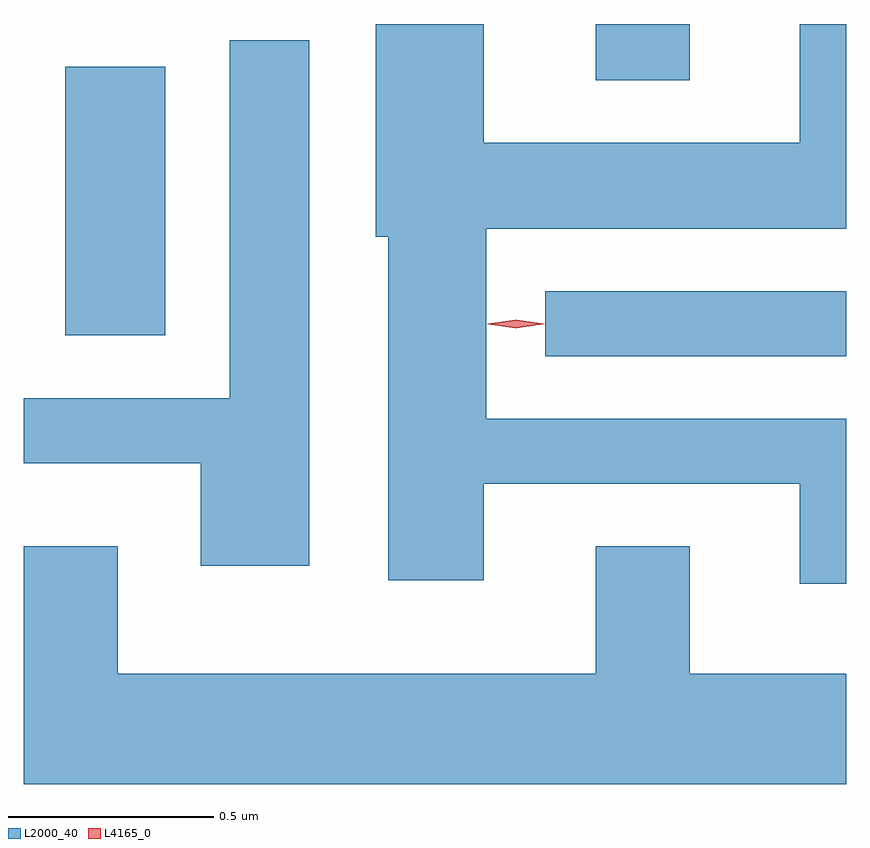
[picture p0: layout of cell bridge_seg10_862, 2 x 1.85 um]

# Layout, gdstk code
import gdstk
lib = gdstk.Library(unit=1e-6, precision=1e-09)
def R(c, l, rs):  # rectangles x0, y0, x1, y1
    for r in rs: c.add(gdstk.rectangle(r[:2], r[2:], *l))
def P(c, l, *ps):  # polygons
    for p in ps: c.add(gdstk.Polygon(p, *l))
L2000_40 = (2000, 40)
L4165_0 = (4165, 0)

bridge_seg10_862 = lib.new_cell('bridge_seg10_862')
R(bridge_seg10_862, L2000_40, [(204.208,2205.976,204.94,2206.134), (203.041,2206.026,203.284,2206.679), (204.331,2206.646,204.559,2206.783)])
P(bridge_seg10_862, L2000_40, [(204.94,2205.824),(204.064,2205.824),(204.064,2206.286),(204.94,2206.286),(204.94,2206.783),(204.826,2206.783),(204.826,2206.494),(204.059,2206.494),(204.059,2206.783),(203.796,2206.783),(203.796,2206.266),(203.826,2206.266),(203.826,2205.431),(204.059,2205.431),(204.059,2205.666),(204.826,2205.666),(204.826,2205.423),(204.94,2205.423)],
  [(203.634,2206.744),(203.441,2206.744),(203.441,2205.874),(202.94,2205.874),(202.94,2205.716),(203.371,2205.716),(203.371,2205.466),(203.634,2205.466)],
  [(204.94,2205.204),(204.559,2205.204),(204.559,2205.514),(204.331,2205.514),(204.331,2205.204),(203.169,2205.204),(203.169,2205.514),(202.941,2205.514),(202.941,2205.204),(202.94,2205.204),(202.94,2204.936),(204.94,2204.936)])
P(bridge_seg10_862, L4165_0, [(204.137,2206.044),(204.067,2206.054),(204.067,2206.054),(204.067,2206.055),(204.137,2206.064),(204.206,2206.055),(204.206,2206.054),(204.206,2206.054)],
  [(204.136,2206.044),(204.07,2206.053),(204.069,2206.053),(204.07,2206.054),(204.136,2206.064),(204.202,2206.054),(204.203,2206.053),(204.202,2206.053)])

lib.write_gds('bridge_seg10_862.gds')
